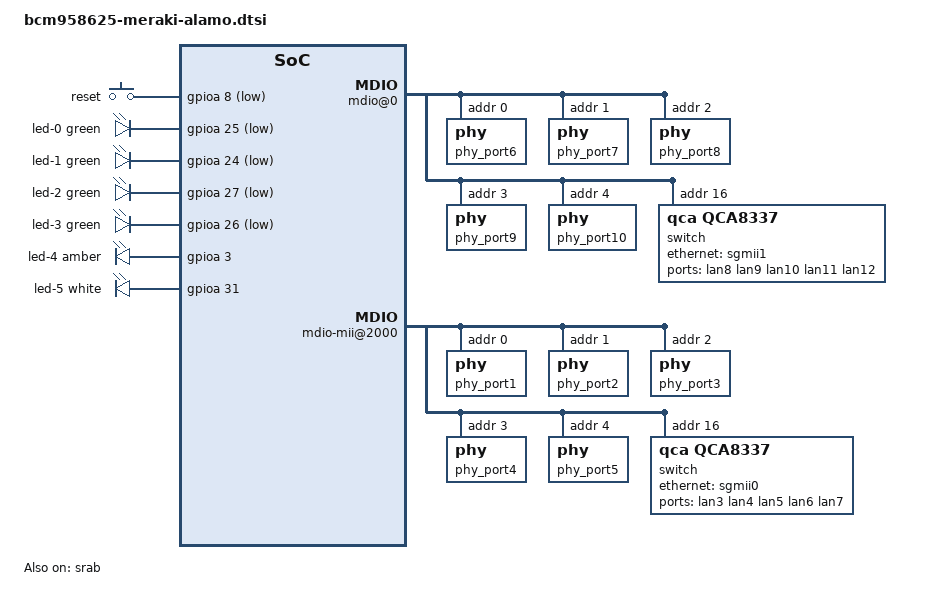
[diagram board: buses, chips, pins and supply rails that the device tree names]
// SPDX-License-Identifier: GPL-2.0-or-later OR MIT
/*
 * Device Tree Bindings for Cisco Meraki MX65 series (Alamo).
 *
 * Copyright (C) 2020-2021 Matthew Hagan <mnhagan88@gmail.com>
 */

#include "bcm958625-meraki-mx6x-common.dtsi"

/ {
	keys {
		compatible = "gpio-keys-polled";
		autorepeat;
		poll-interval = <20>;

		reset {
			label = "reset";
			linux,code = <KEY_RESTART>;
			gpios = <&gpioa 8 GPIO_ACTIVE_LOW>;
		};
	};

	leds {
		compatible = "gpio-leds";

		led-0 {
			/* green:wan1-left */
			function = LED_FUNCTION_ACTIVITY;
			function-enumerator = <0>;
			color = <LED_COLOR_ID_GREEN>;
			gpios = <&gpioa 25 GPIO_ACTIVE_LOW>;
		};

		led-1 {
			/* green:wan1-right */
			function = LED_FUNCTION_ACTIVITY;
			function-enumerator = <1>;
			color = <LED_COLOR_ID_GREEN>;
			gpios = <&gpioa 24 GPIO_ACTIVE_LOW>;
		};

		led-2 {
			/* green:wan2-left */
			function = LED_FUNCTION_ACTIVITY;
			function-enumerator = <2>;
			color = <LED_COLOR_ID_GREEN>;
			gpios = <&gpioa 27 GPIO_ACTIVE_LOW>;
		};

		led-3 {
			/* green:wan2-right */
			function = LED_FUNCTION_ACTIVITY;
			function-enumerator = <3>;
			color = <LED_COLOR_ID_GREEN>;
			gpios = <&gpioa 26 GPIO_ACTIVE_LOW>;
		};

		led-4 {
			/* amber:power */
			function = LED_FUNCTION_POWER;
			color = <LED_COLOR_ID_AMBER>;
			gpios = <&gpioa 3 GPIO_ACTIVE_HIGH>;
			default-state = "on";
		};

		led-5 {
			/* white:status */
			function = LED_FUNCTION_STATUS;
			color = <LED_COLOR_ID_WHITE>;
			gpios = <&gpioa 31 GPIO_ACTIVE_HIGH>;
		};
	};

	mdio-mii-mux {
		compatible = "mdio-mux-mmioreg";
		reg = <0x1803f1c0 0x4>;
		mux-mask = <0x2000>;
		mdio-parent-bus = <&mdio_ext>;
		#address-cells = <1>;
		#size-cells = <0>;

		mdio@0 {
			reg = <0x0>;
			#address-cells = <1>;
			#size-cells = <0>;

			phy_port6: phy@0 {
				reg = <0>;
			};

			phy_port7: phy@1 {
				reg = <1>;
			};

			phy_port8: phy@2 {
				reg = <2>;
			};

			phy_port9: phy@3 {
				reg = <3>;
			};

			phy_port10: phy@4 {
				reg = <4>;
			};

			switch@10 {
				compatible = "qca,qca8337";
				reg = <0x10>;
				dsa,member = <1 0>;

				ports {
					#address-cells = <1>;
					#size-cells = <0>;
					port@0 {
						reg = <0>;
						ethernet = <&sgmii1>;
						phy-mode = "sgmii";
						fixed-link {
							speed = <1000>;
							full-duplex;
						};
					};

					port@1 {
						reg = <1>;
						label = "lan8";
						phy-handle = <&phy_port6>;
					};

					port@2 {
						reg = <2>;
						label = "lan9";
						phy-handle = <&phy_port7>;
					};

					port@3 {
						reg = <3>;
						label = "lan10";
						phy-handle = <&phy_port8>;
					};

					port@4 {
						reg = <4>;
						label = "lan11";
						phy-handle = <&phy_port9>;
					};

					port@5 {
						reg = <5>;
						label = "lan12";
						phy-handle = <&phy_port10>;
					};
				};
			};
		};

		mdio-mii@2000 {
			reg = <0x2000>;
			#address-cells = <1>;
			#size-cells = <0>;

			phy_port1: phy@0 {
				reg = <0>;
			};

			phy_port2: phy@1 {
				reg = <1>;
			};

			phy_port3: phy@2 {
				reg = <2>;
			};

			phy_port4: phy@3 {
				reg = <3>;
			};

			phy_port5: phy@4 {
				reg = <4>;
			};

			switch@10 {
				compatible = "qca,qca8337";
				reg = <0x10>;
				dsa,member = <2 0>;

				ports {
					#address-cells = <1>;
					#size-cells = <0>;
					port@0 {
						reg = <0>;
						ethernet = <&sgmii0>;
						phy-mode = "sgmii";
						fixed-link {
							speed = <1000>;
							full-duplex;
						};
					};

					port@1 {
						reg = <1>;
						label = "lan3";
						phy-handle = <&phy_port1>;
					};

					port@2 {
						reg = <2>;
						label = "lan4";
						phy-handle = <&phy_port2>;
					};

					port@3 {
						reg = <3>;
						label = "lan5";
						phy-handle = <&phy_port3>;
					};

					port@4 {
						reg = <4>;
						label = "lan6";
						phy-handle = <&phy_port4>;
					};

					port@5 {
						reg = <5>;
						label = "lan7";
						phy-handle = <&phy_port5>;
					};
				};
			};
		};
	};
};

&srab {
	compatible = "brcm,bcm58625-srab", "brcm,nsp-srab";
	status = "okay";
	dsa,member = <0 0>;

	ports {
		port@0 {
			label = "wan1";
			reg = <0>;
		};

		port@1 {
			label = "wan2";
			reg = <1>;
		};

		sgmii0: port@4 {
			label = "sw0";
			reg = <4>;
			fixed-link {
				speed = <1000>;
				full-duplex;
			};
		};

		sgmii1: port@5 {
			label = "sw1";
			reg = <5>;
			fixed-link {
				speed = <1000>;
				full-duplex;
			};
		};

		port@8 {
			ethernet = <&amac2>;
			reg = <8>;
			fixed-link {
				speed = <1000>;
				full-duplex;
			};
		};
	};
};
